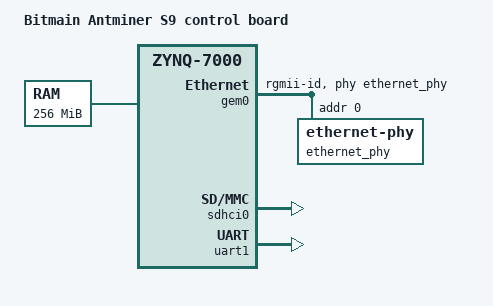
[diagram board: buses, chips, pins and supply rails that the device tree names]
// SPDX-License-Identifier: GPL-2.0+
/*
 * Bitmain Antminer S9 control board (Zynq-7010) - minimal U-Boot device tree.
 *
 * Derived from the MicroZed DTS shipped with U-Boot. Only SD boot, UART and
 * Ethernet are described. The values below are taken from public knowledge
 * about the S9 control board and are NOT verified on real hardware: check
 * the UART, DDR size and Ethernet PHY address against your board revision.
 */
/dts-v1/;
#include "zynq-7000.dtsi"

/ {
	model = "Bitmain Antminer S9 control board";
	compatible = "bitmain,zynq-antminer-s9", "xlnx,zynq-7000";

	aliases {
		serial0 = &uart1;
		mmc0 = &sdhci0;
	};

	memory@0 {
		device_type = "memory";
		/* 256 MiB; some board revisions have 512 MiB (0x20000000). */
		reg = <0x0 0x10000000>;
	};

	chosen {
		bootargs = "earlycon";
		stdout-path = "serial0:115200n8";
	};
};

&clkc {
	ps-clk-frequency = <33333333>;
};

&gem0 {
	status = "okay";
	phy-mode = "rgmii-id";
	phy-handle = <&ethernet_phy>;

	ethernet_phy: ethernet-phy@0 {
		reg = <0>;
	};
};

&sdhci0 {
	bootph-all;
	status = "okay";
};

&uart1 {
	bootph-all;
	status = "okay";
};
